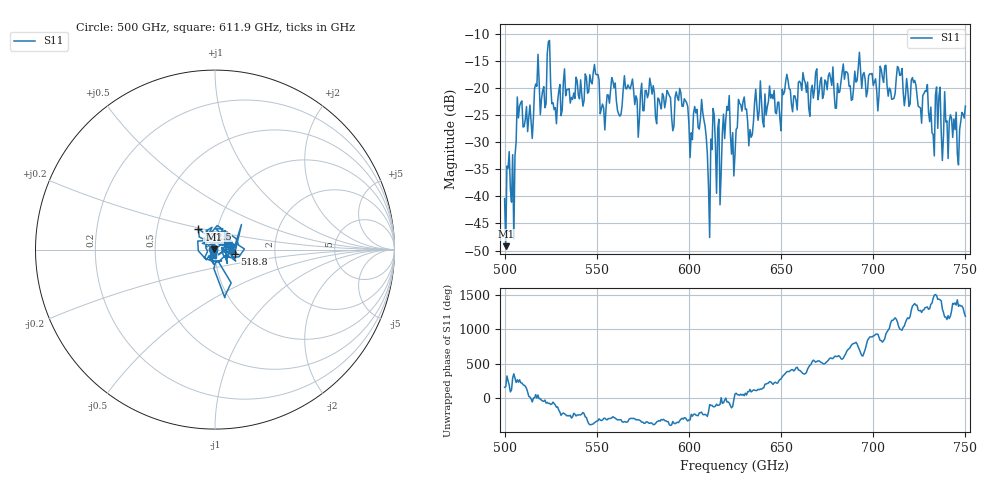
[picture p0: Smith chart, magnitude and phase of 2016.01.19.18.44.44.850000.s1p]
!Created with skrf (http://scikit-rf.org).
# GHz S RI R 50.0
!freq ReS11 ImS11
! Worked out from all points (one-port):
!   401 points, 500 GHz to 750 GHz, reference 50 ohm
!   lowest |S11| = -49.2 dB at 500.6 GHz (marker M1), VSWR 1.01, Z = 49.7 + j0.0845 ohm
!   |S11| at or under -10 dB: start of sweep to end of sweep
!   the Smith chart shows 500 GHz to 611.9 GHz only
!   S11 on the Smith chart (normalised r, x): 500 GHz: 0.98, +0.01; 518.8 GHz: 1.25, -0.06; 532.5 GHz: 0.81, +0.19; 611.9 GHz: 0.98, -0.06
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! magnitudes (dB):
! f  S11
! 500 GHz  -40.4
! 500.6 GHz  -49.2
! 504.4 GHz  -32.3
! 508.1 GHz  -23.4
! 513.8 GHz  -23.2
! 518.8 GHz  -19.0
! 531.2 GHz  -24.1
! 532.5 GHz  -16.5
! 549.4 GHz  -17.4
! 553.1 GHz  -23.0
! 558.8 GHz  -18.8
! 562.5 GHz  -25.2
! 593.8 GHz  -21.8
! 601.2 GHz  -28.3
! 607.5 GHz  -24.5
! 611.9 GHz  -29.5
! 613.1 GHz  -23.8
! 616.2 GHz  -25.8
! 620.6 GHz  -23.4
! 625 GHz  -32.2
! 628.1 GHz  -23.1
! 633.8 GHz  -29.1
! 637.5 GHz  -26.0
! 656.2 GHz  -24.4
! 687.5 GHz  -19.6
! 718.8 GHz  -20.4
! 745.6 GHz  -32.2
! 750 GHz  -23.4
